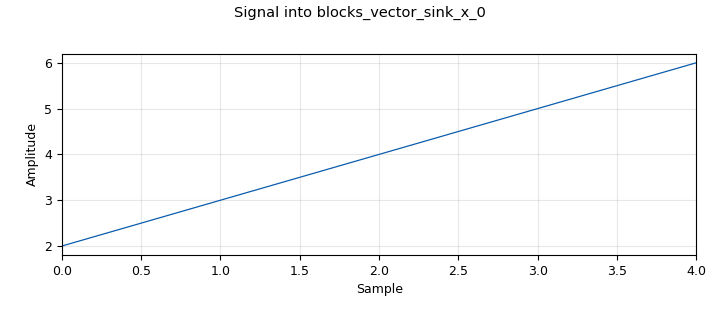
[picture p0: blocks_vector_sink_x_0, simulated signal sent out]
<?xml version='1.0' encoding='utf-8'?>
<?grc format='1' created='3.7.10'?>
<flow_graph>
<block>
<key>options</key>
<param><key>id</key><value>myadder_test</value></param>
<param><key>generate_options</key><value>no_gui</value></param>
<param><key>run_options</key><value>run</value></param>
</block>
<block>
<key>variable</key>
<param><key>id</key><value>samp_rate</value></param>
<param><key>value</key><value>32000</value></param>
</block>
<block>
<key>blocks_add_xx</key>
<param><key>id</key><value>blocks_add_xx_0</value></param>
<param><key>type</key><value>float</value></param>
</block>
<block>
<key>blocks_vector_sink_x</key>
<param><key>id</key><value>blocks_vector_sink_x_0</value></param>
<param><key>type</key><value>float</value></param>
</block>
<block>
<key>blocks_vector_source_x</key>
<param><key>id</key><value>blocks_vector_source_x_0</value></param>
<param><key>type</key><value>float</value></param>
<param><key>repeat</key><value>False</value></param>
<param><key>vector</key><value>(1,2,3,4,5)</value></param>
</block>
<block>
<key>blocks_vector_source_x</key>
<param><key>id</key><value>blocks_vector_source_x_0_0</value></param>
<param><key>type</key><value>float</value></param>
<param><key>repeat</key><value>False</value></param>
<param><key>vector</key><value>(1,1,1,1,1)</value></param>
</block>
<connection><source_block_id>blocks_add_xx_0</source_block_id><sink_block_id>blocks_vector_sink_x_0</sink_block_id><source_key>0</source_key><sink_key>0</sink_key></connection>
<connection><source_block_id>blocks_vector_source_x_0</source_block_id><sink_block_id>blocks_add_xx_0</sink_block_id><source_key>0</source_key><sink_key>0</sink_key></connection>
<connection><source_block_id>blocks_vector_source_x_0_0</source_block_id><sink_block_id>blocks_add_xx_0</sink_block_id><source_key>0</source_key><sink_key>1</sink_key></connection>
</flow_graph>
